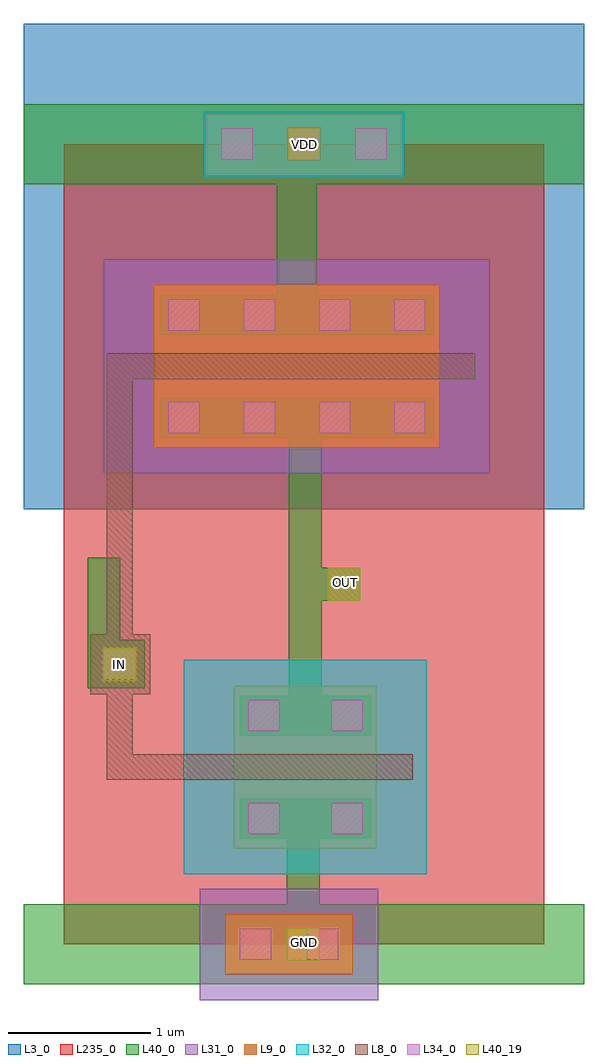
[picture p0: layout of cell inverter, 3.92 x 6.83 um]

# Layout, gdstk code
from math import pi, radians
import gdstk
lib = gdstk.Library(unit=1e-6, precision=1e-09)
def R(c, l, rs):  # rectangles x0, y0, x1, y1
    for r in rs: c.add(gdstk.rectangle(r[:2], r[2:], *l))
def A(c, l, x, y, w, h, nx, ny, dx, dy):  # array of equal rectangles
    R(c, l, [(x+i*dx, y+j*dy, x+i*dx+w, y+j*dy+h) for i in range(nx) for j in range(ny)])
L3_0 = (3, 0)
L8_0 = (8, 0)
L9_0 = (9, 0)
L31_0 = (31, 0)
L32_0 = (32, 0)
L34_0 = (34, 0)
L40_0 = (40, 0)
L40_19 = (40, 19)
L235_0 = (235, 0)

nmos_18_cdns_78229556301 = lib.new_cell('nmos_18_CDNS_782295563010')
R(nmos_18_cdns_78229556301, L8_0, [(0.48,-0.25,0.66,0), (0.48,0,0.66,1), (0.48,1,0.66,1.25)])
R(nmos_18_cdns_78229556301, L9_0, [(0,0,0.48,1), (0.48,0,0.66,1), (0.66,0,1.14,1)])
R(nmos_18_cdns_78229556301, L32_0, [(-0.18,-0.35,1.32,1.35)])
R(nmos_18_cdns_78229556301, L34_0, [(0.1,0.1,0.32,0.32), (0.82,0.1,1.04,0.32), (0.1,0.68,0.32,0.9), (0.82,0.68,1.04,0.9)])
R(nmos_18_cdns_78229556301, L40_0, [(0.07,0.04,0.35,0.96), (0.79,0.04,1.07,0.96)])
nmos_18_cdns_78229556301.add(gdstk.Label('[@instanceName]', (0.57,0.502), layer=77, texttype=7))

pmos_18_cdns_78229556301 = lib.new_cell('pmos_18_CDNS_782295563011')
R(pmos_18_cdns_78229556301, L3_0, [(-0.43,-0.43,1.57,2.43)])
R(pmos_18_cdns_78229556301, L8_0, [(0.48,-0.25,0.66,0), (0.48,0,0.66,2), (0.48,2,0.66,2.25)])
R(pmos_18_cdns_78229556301, L9_0, [(0,0,0.48,2), (0.48,0,0.66,2), (0.66,0,1.14,2)])
R(pmos_18_cdns_78229556301, L31_0, [(-0.18,-0.35,1.32,2.35)])
A(pmos_18_cdns_78229556301, L34_0, 0.1, 0.63, 0.22, 0.22, 1, 3, 0, 0.525)
A(pmos_18_cdns_78229556301, L34_0, 0.82, 0.63, 0.22, 0.22, 1, 3, 0, 0.525)
R(pmos_18_cdns_78229556301, L34_0, [(0.1,0.1,0.32,0.32), (0.82,0.1,1.04,0.32)])
R(pmos_18_cdns_78229556301, L40_0, [(0.07,0.04,0.35,1.96), (0.79,0.04,1.07,1.96)])
pmos_18_cdns_78229556301.add(gdstk.Label('[@instanceName]', (0.57,1.002), layer=77, texttype=7))

ptap_lg_cdns_78229556301 = lib.new_cell('PTAP_LG_CDNS_782295563010')
R(ptap_lg_cdns_78229556301, L9_0, [(-0.445,-0.21,0.445,0.21)])
R(ptap_lg_cdns_78229556301, L31_0, [(-0.625,-0.39,0.625,0.39)])
R(ptap_lg_cdns_78229556301, L34_0, [(-0.345,-0.11,-0.125,0.11), (0.125,-0.11,0.345,0.11)])
R(ptap_lg_cdns_78229556301, L40_0, [(-0.405,-0.17,0.405,0.17)])

m1_po_cdns_782295563011 = lib.new_cell('M1_PO_CDNS_782295563011')
R(m1_po_cdns_782295563011, L8_0, [(-0.21,-0.21,0.21,0.21)])
R(m1_po_cdns_782295563011, L34_0, [(-0.11,-0.11,0.11,0.11)])
R(m1_po_cdns_782295563011, L40_0, [(-0.17,-0.17,0.17,0.17)])

m1_wn_cdns_782295563012 = lib.new_cell('M1_WN_CDNS_782295563012')
R(m1_wn_cdns_782295563012, L3_0, [(-0.86,-0.43,0.86,0.43)])
R(m1_wn_cdns_782295563012, L9_0, [(-0.68,-0.21,0.68,0.21)])
R(m1_wn_cdns_782295563012, L32_0, [(-0.7,-0.23,0.7,0.23)])
A(m1_wn_cdns_782295563012, L34_0, -0.58, -0.11, 0.22, 0.22, 3, 1, 0.47, 0)
R(m1_wn_cdns_782295563012, L40_0, [(-0.64,-0.17,0.64,0.17)])

inverter = lib.new_cell('inverter')
R(inverter, L3_0, [(-0.28,3.045,3.64,6.44)])
R(inverter, L40_0, [(-0.28,-0.28,3.64,0.28), (-0.28,5.32,3.64,5.88)])
R(inverter, L40_19, [(1.56,-0.115,1.79,0.115), (0.275,1.845,0.505,2.075), (1.845,2.405,2.075,2.635), (1.565,5.485,1.795,5.715)])
R(inverter, L235_0, [(0,0,3.36,5.6)])
inverter.add(gdstk.FlexPath([(1.675,-0.115),(1.675,0.74)], 0.23, ends="flush", simple_path=True, layer=40, datatype=0))  # L40_0
inverter.add(gdstk.FlexPath([(1.63,4.405),(1.63,5.32)], 0.28, ends=(0.14, 0), simple_path=True, layer=40, datatype=0))  # L40_0
inverter.add(gdstk.FlexPath([(0.28,1.79),(0.28,2.705)], 0.23, ends="flush", simple_path=True, layer=40, datatype=0))  # L40_0
inverter.add(gdstk.FlexPath([(1.69,2.52),(1.69,3.545)], 0.23, ends=(0.115, 0), simple_path=True, layer=40, datatype=0))  # L40_0
inverter.add(gdstk.FlexPath([(1.69,1.74),(1.69,2.52)], 0.23, ends=(0, 0.115), simple_path=True, layer=40, datatype=0))  # L40_0
inverter.add(gdstk.FlexPath([(2.075,2.52),(1.69,2.52)], 0.23, ends=(0, 0.115), simple_path=True, layer=40, datatype=0))  # L40_0
inverter.add(gdstk.FlexPath([(0.39,1.24),(0.39,4.135)], 0.18, ends=(0.09, 0), simple_path=True, layer=8, datatype=0))  # L8_0
inverter.add(gdstk.FlexPath([(0.94,1.24),(0.39,1.24)], 0.18, ends=(0, 0.09), simple_path=True, layer=8, datatype=0))  # L8_0
inverter.add(gdstk.Reference(nmos_18_cdns_78229556301, (1.19,1.81), rotation=3*pi/2))
inverter.add(gdstk.Reference(pmos_18_cdns_78229556301, (0.63,4.615), rotation=3*pi/2))
inverter.add(gdstk.Reference(ptap_lg_cdns_78229556301, (1.575,0)))
inverter.add(gdstk.Reference(m1_po_cdns_782295563011, (0.395,1.96)))
inverter.add(gdstk.Reference(m1_wn_cdns_782295563012, (1.68,5.6)))
inverter.add(gdstk.Label('OUT', (1.97,2.53), layer=40, texttype=7))
inverter.add(gdstk.Label('IN', (0.39,1.96), layer=40, texttype=7))
inverter.add(gdstk.Label('GND', (1.68,0.01), layer=40, texttype=7))
inverter.add(gdstk.Label('VDD', (1.685,5.595), layer=40, texttype=7))
inverter.add(gdstk.Label('OUT', (1.97,2.53), layer=40, texttype=7))
inverter.add(gdstk.Label('IN', (0.39,1.96), layer=40, texttype=7))
inverter.add(gdstk.Label('GND', (1.68,0.01), layer=40, texttype=7))
inverter.add(gdstk.Label('VDD', (1.685,5.595), layer=40, texttype=7))

lib.write_gds('inverter.gds')
